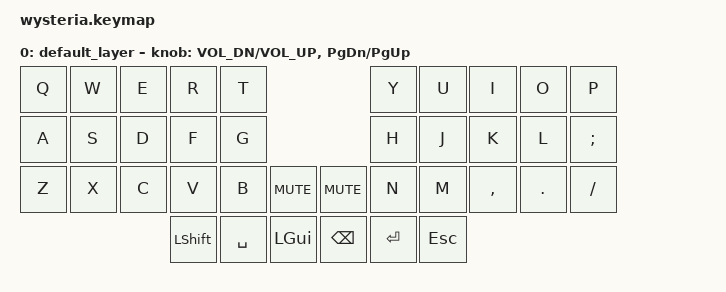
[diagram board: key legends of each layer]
#include <behaviors.dtsi>
#include <dt-bindings/zmk/keys.h>

/ {
    keymap {
        compatible = "zmk,keymap";

        default_layer {
            bindings = <
            // top outside key is considered part of the top row, pinky col, as it is designed to be part of the main block of alpha keys.
                &kp Q    &kp W     &kp E     &kp R     &kp T                           &kp Y     &kp U     &kp I     &kp O     &kp P
                &kp A    &kp S     &kp D     &kp F     &kp G                           &kp H     &kp J     &kp K     &kp L     &kp SEMI
                &kp Z    &kp X     &kp C     &kp V     &kp B    &kp C_MUTE &kp C_MUTE  &kp N     &kp M     &kp COMMA &kp DOT   &kp FSLH
                                            &kp LSHFT &kp SPACE &kp LGUI   &kp BSPC    &kp RET   &kp ESC
            >;

            sensor-bindings = <&inc_dec_kp C_VOL_DN C_VOL_UP &inc_dec_kp PG_DN PG_UP>;
        };
    };
};
